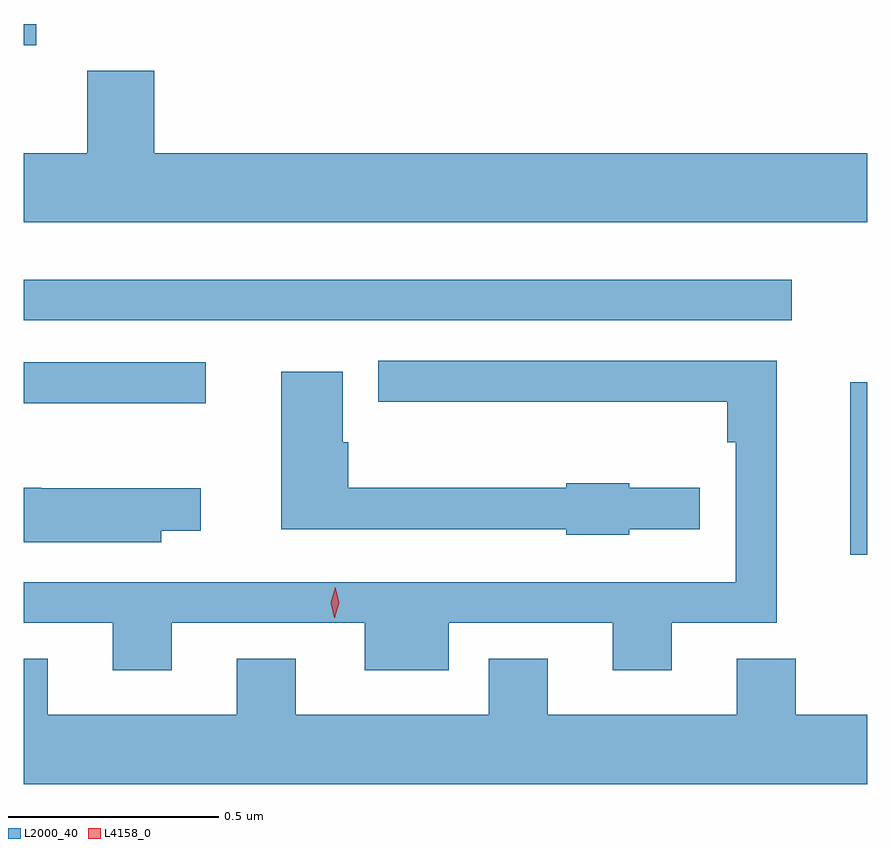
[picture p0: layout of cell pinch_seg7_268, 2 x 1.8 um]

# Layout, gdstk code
import gdstk
lib = gdstk.Library(unit=1e-6, precision=1e-09)
def R(c, l, rs):  # rectangles x0, y0, x1, y1
    for r in rs: c.add(gdstk.rectangle(r[:2], r[2:], *l))
def P(c, l, *ps):  # polygons
    for p in ps: c.add(gdstk.Polygon(p, *l))
L2000_40 = (2000, 40)
L4158_0 = (4158, 0)

pinch_seg7_268 = lib.new_cell('pinch_seg7_268')
R(pinch_seg7_268, L2000_40, [(816.26,1062.431,816.3,1062.841), (814.3,1062.791,814.732,1062.888), (814.3,1062.987,816.121,1063.084), (814.3,1063.64,814.33,1063.69)])
P(pinch_seg7_268, L2000_40, [(816.3,1063.384),(814.61,1063.384),(814.61,1063.579),(814.45,1063.579),(814.45,1063.384),(814.3,1063.384),(814.3,1063.22),(816.3,1063.22)],
  [(814.651,1062.27),(815.108,1062.27),(815.108,1062.158),(815.308,1062.158),(815.308,1062.27),(815.696,1062.27),(815.696,1062.158),(815.836,1062.158),(815.836,1062.27),(816.085,1062.27),(816.085,1062.891),(815.141,1062.891),(815.141,1062.794),(815.968,1062.794),(815.968,1062.698),(815.988,1062.698),(815.988,1062.366),(814.3,1062.366),(814.3,1062.27),(814.511,1062.27),(814.511,1062.158),(814.651,1062.158)],
  [(815.736,1062.492),(815.903,1062.492),(815.903,1062.59),(815.736,1062.59),(815.736,1062.601),(815.586,1062.601),(815.586,1062.59),(815.069,1062.59),(815.069,1062.698),(815.056,1062.698),(815.056,1062.865),(814.91,1062.865),(814.91,1062.492),(815.586,1062.492),(815.586,1062.479),(815.736,1062.479)],
  [(814.626,1062.488),(814.72,1062.488),(814.72,1062.589),(814.342,1062.589),(814.342,1062.59),(814.3,1062.59),(814.3,1062.461),(814.626,1062.461)],
  [(816.3,1062.052),(816.13,1062.052),(816.13,1062.185),(815.99,1062.185),(815.99,1062.052),(815.542,1062.052),(815.542,1062.185),(815.402,1062.185),(815.402,1062.052),(814.945,1062.052),(814.945,1062.185),(814.805,1062.185),(814.805,1062.052),(814.357,1062.052),(814.357,1062.185),(814.3,1062.185),(814.3,1061.888),(816.3,1061.888)])
P(pinch_seg7_268, L4158_0, [(815.036,1062.282),(815.036,1062.282),(815.028,1062.318),(815.039,1062.354),(815.039,1062.354),(815.039,1062.354),(815.048,1062.318),(815.037,1062.282)])

lib.write_gds('pinch_seg7_268.gds')
